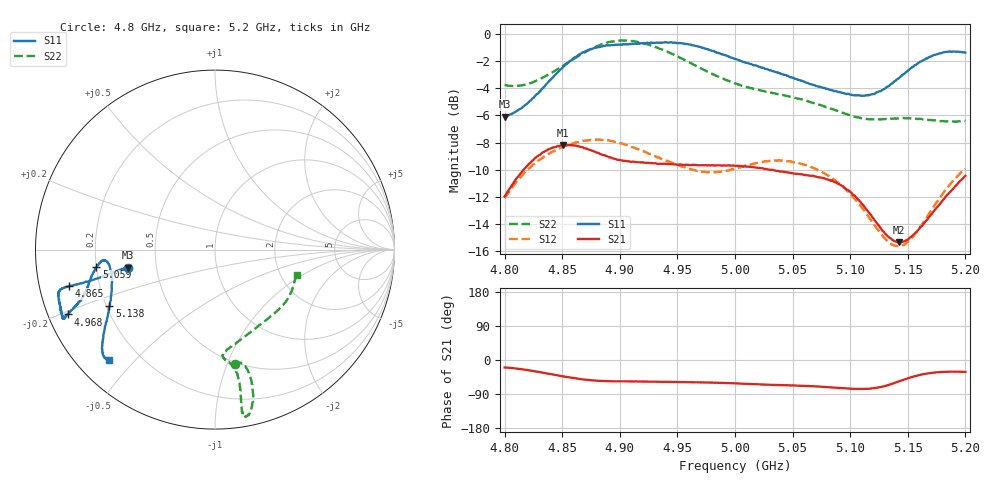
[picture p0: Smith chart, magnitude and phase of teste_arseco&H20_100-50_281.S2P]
! Network Analyzer HP8722D
! Hewlett-Packard
! Data name: Linha & Wilkinson
! Saver's name: Rodrigo Anjos
! Comments: Teste da utilização de aquisição
! continua pelo VNA HP8722D
! Time and date: 6/5/2025 14:54
!  Frequency  S11  S21  S12  S22
# HZ  S  MA R 50
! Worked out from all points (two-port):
!   401 points, 4.8 GHz to 5.2 GHz, reference 50 ohm
!   highest |S21| = -8.18 dB at 4.851 GHz (marker M1); lowest = -15.3 dB at 5.142 GHz (marker M2)
!   |S21| within 3 dB of the highest: 4.806 GHz to 5.093 GHz (287.1 MHz wide, 5.8 % of centre); 5.191578 GHz to end of sweep
!   lowest |S11| = -6.1 dB at 4.8 GHz (marker M3), VSWR 2.97, Z = 17 - j4.57 ohm
!   |S11| at or under -10 dB: nowhere
!   |S22| runs from -6.5 to -0.5 dB; largest |S21 - S12| = 0.62
!   S11 on the Smith chart (normalised r, x): 4.8 GHz: 0.34, -0.09; 4.865 GHz: 0.09, -0.12; 4.968 GHz: 0.06, -0.21; 5.059 GHz: 0.20, -0.07; 5.138 GHz: 0.21, -0.24; 5.2 GHz: 0.09, -0.43
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4.8e9  0.4966 -168.2  0.2523 -19.8  0.2487 -140.9  0.6486 -80.4
4.823e9  0.5705 -167.5  0.3377 -28.2  0.3251 -143.7  0.6596 -76.0
4.851e9  0.756 -165.9  0.3901 -43.3  0.3843 -149.3  0.765 -74.6
4.865e9  0.8399 -166.0  0.3847 -49.9  0.4009 -151.6  0.8326 -75.2
4.867e9  0.8495 -165.8  0.3834 -50.8  0.4026 -152.0  0.844 -75.4
4.899e9  0.9119 -162.9  0.3441 -56.5  0.3979 -156.7  0.9439 -79.0
4.913e9  0.9198 -159.8  0.3381 -56.5  0.3811 -157.0  0.9364 -80.2
4.934e9  0.9284 -156.4  0.3325 -57.5  0.3513 -155.6  0.8828 -80.5
4.968e9  0.8974 -156.2  0.3287 -59.0  0.3136 -147.6  0.7553 -79.6
5e9  0.8074 -159.0  0.3273 -61.8  0.3195 -137.1  0.6569 -81.4
5.035e9  0.7241 -165.3  0.3144 -65.9  0.3421 -134.3  0.603 -85.7
5.059e9  0.6687 -171.6  0.3038 -68.2  0.3312 -136.0  0.5716 -84.4
5.067e9  0.6507 -173.0  0.3009 -69.1  0.3225 -136.8  0.5587 -82.7
5.087e9  0.616 -174.5  0.2843 -73.1  0.289 -138.5  0.5245 -74.7
5.101e9  0.5975 -172.1  0.2605 -75.8  0.2556 -138.8  0.5006 -66.5
5.116e9  0.5964 -165.5  0.2211 -75.9  0.2126 -135.5  0.4851 -55.7
5.134e9  0.6443 -154.2  0.1781 -65.2  0.1708 -120.8  0.4873 -43.3
5.138e9  0.6674 -151.8  0.1736 -61.1  0.1669 -115.5  0.4879 -40.7
5.142e9  0.6849 -149.8  0.1713 -56.7  0.1661 -110.3  0.4889 -38.7
5.153e9  0.7487 -145.0  0.1799 -45.3  0.1767 -96.2  0.4887 -32.7
5.17e9  0.8256 -139.6  0.2155 -34.3  0.2232 -82.1  0.4824 -25.4
5.2e9  0.8525 -133.6  0.3004 -31.2  0.3194 -76.9  0.4782 -17.6
